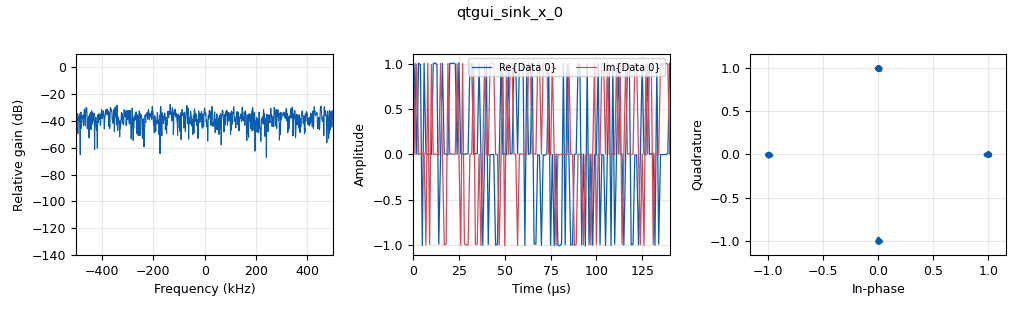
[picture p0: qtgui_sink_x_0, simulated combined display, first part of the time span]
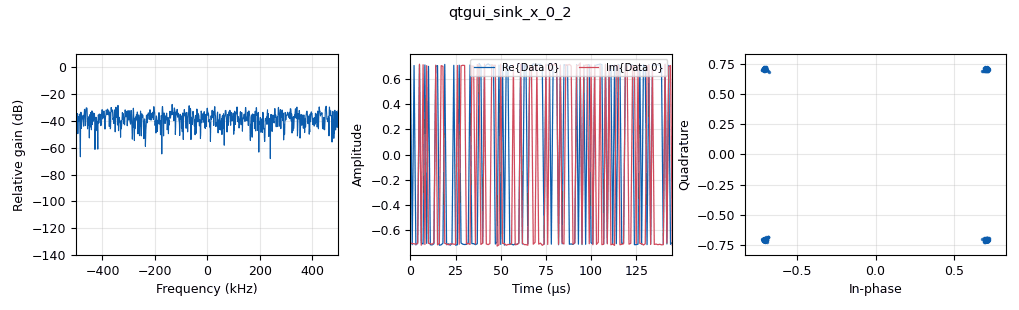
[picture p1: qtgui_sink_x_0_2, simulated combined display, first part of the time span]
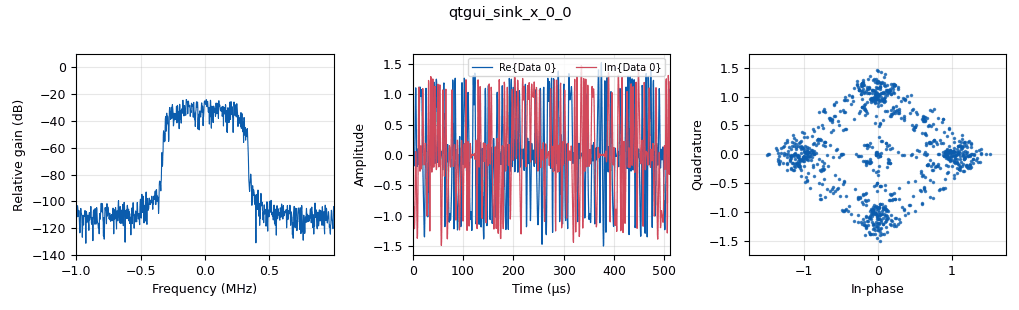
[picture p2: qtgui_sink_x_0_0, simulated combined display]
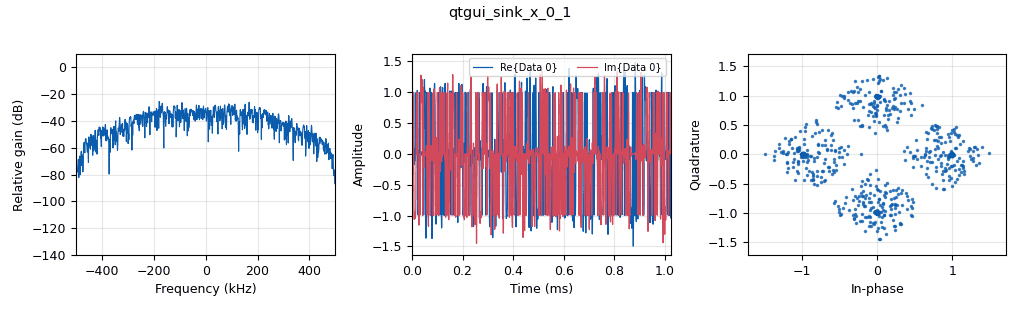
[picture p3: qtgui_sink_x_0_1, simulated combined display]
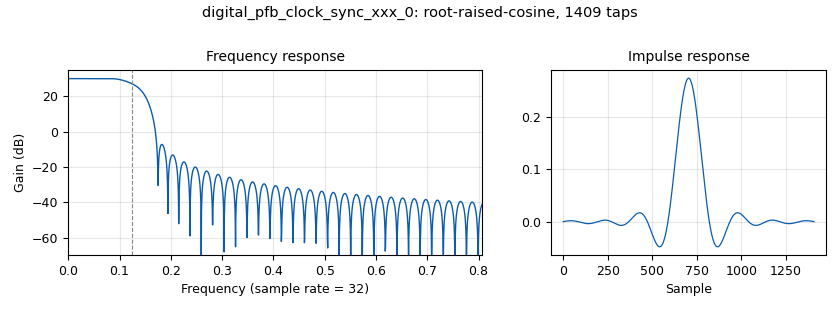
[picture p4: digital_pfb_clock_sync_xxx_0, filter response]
<?xml version='1.0' encoding='utf-8'?>
<?grc format='1' created='3.7.6'?>
<flow_graph>
<block>
<key>options</key>
<param><key>id</key><value>QPSK_Test</value></param>
<param><key>title</key><value>QPSK Test</value></param>
<param><key>author</key><value>MR (Edited from GNU Radio Tutorial 7)</value></param>
<param><key>description</key><value>QPSK Modulator / Receiver with simulated channel</value></param>
<param><key>generate_options</key><value>qt_gui</value></param>
<param><key>category</key><value>Custom</value></param>
</block>
<block>
<key>variable</key>
<param><key>id</key><value>sps_out</value></param>
<param><key>value</key><value>2</value></param>
</block>
<block>
<key>variable</key>
<param><key>id</key><value>taps</value></param>
<param><key>value</key><value>[1.0 + 0.0j, ]</value></param>
</block>
<block>
<key>variable</key>
<param><key>id</key><value>nfilts</value></param>
<param><key>value</key><value>32</value></param>
</block>
<block>
<key>variable</key>
<param><key>id</key><value>excess_bw</value></param>
<param><key>value</key><value>0.35</value></param>
</block>
<block>
<key>variable</key>
<param><key>id</key><value>samp_rate</value></param>
<param><key>value</key><value>2000000</value></param>
</block>
<block>
<key>variable</key>
<param><key>id</key><value>sym_rate</value></param>
<param><key>value</key><value>500000</value></param>
</block>
<block>
<key>variable</key>
<param><key>id</key><value>sps</value></param>
<param><key>value</key><value>int(samp_rate/sym_rate)</value></param>
</block>
<block>
<key>variable</key>
<param><key>id</key><value>arity</value></param>
<param><key>value</key><value>4</value></param>
</block>
<block>
<key>variable</key>
<param><key>id</key><value>rrc_taps</value></param>
<param><key>value</key><value>firdes.root_raised_cosine(nfilts, nfilts, 1.0/float(sps), 0.35, 11*sps*nfilts)</value></param>
</block>
<block>
<key>variable</key>
<param><key>id</key><value>taps</value></param>
<param><key>_enabled</key><value>False</value></param>
<param><key>value</key><value>[1.0, 0.25-0.25j, 0.50 + 0.10j, -0.3 + 0.2j]</value></param>
</block>
<block>
<key>digital_constellation_modulator</key>
<param><key>id</key><value>digital_constellation_modulator_0</value></param>
<param><key>_enabled</key><value>False</value></param>
<param><key>constellation</key><value>qpsk</value></param>
<param><key>differential</key><value>True</value></param>
<param><key>samples_per_symbol</key><value>sps</value></param>
<param><key>excess_bw</key><value>excess_bw</value></param>
</block>
<block>
<key>blocks_throttle</key>
<param><key>id</key><value>blocks_throttle_0</value></param>
<param><key>type</key><value>complex</value></param>
<param><key>samples_per_second</key><value>samp_rate</value></param>
</block>
<block>
<key>qtgui_sink_x</key>
<param><key>id</key><value>qtgui_sink_x_0</value></param>
<param><key>type</key><value>complex</value></param>
<param><key>fftsize</key><value>1024</value></param>
<param><key>wintype</key><value>firdes.WIN_BLACKMAN_hARRIS</value></param>
<param><key>fc</key><value>0</value></param>
<param><key>bw</key><value>samp_rate*sps_out/sps</value></param>
<param><key>gui_hint</key><value>fig_tabs@2</value></param>
<param><key>freqchangevar</key><value>None</value></param>
<param><key>showports</key><value>True</value></param>
</block>
<block>
<key>qtgui_sink_x</key>
<param><key>id</key><value>qtgui_sink_x_0_2</value></param>
<param><key>type</key><value>complex</value></param>
<param><key>fftsize</key><value>1024</value></param>
<param><key>wintype</key><value>firdes.WIN_BLACKMAN_hARRIS</value></param>
<param><key>fc</key><value>0</value></param>
<param><key>bw</key><value>samp_rate*sps_out/sps</value></param>
<param><key>gui_hint</key><value>fig_tabs@3</value></param>
<param><key>freqchangevar</key><value>None</value></param>
<param><key>showports</key><value>True</value></param>
</block>
<block>
<key>digital_costas_loop_cc</key>
<param><key>id</key><value>digital_costas_loop_cc_0</value></param>
<param><key>w</key><value>phase_bw</value></param>
<param><key>order</key><value>arity</value></param>
</block>
<block>
<key>variable_constellation_rect</key>
<param><key>id</key><value>qpsk</value></param>
<param><key>sym_map</key><value>[0, 1, 2, 3]</value></param>
<param><key>const_points</key><value>[0.707+0.707j, -0.707+0.707j, -0.707-0.707j, 0.707-0.707j]</value></param>
<param><key>rot_sym</key><value>4</value></param>
<param><key>real_sect</key><value>2</value></param>
<param><key>imag_sect</key><value>2</value></param>
<param><key>w_real_sect</key><value>1</value></param>
<param><key>w_imag_sect</key><value>1</value></param>
<param><key>softbits_lut</key><value>None</value></param>
</block>
<block>
<key>digital_psk_mod</key>
<param><key>id</key><value>digital_psk_mod_0</value></param>
<param><key>constellation_points</key><value>arity</value></param>
<param><key>mod_code</key><value>"gray"</value></param>
<param><key>differential</key><value>True</value></param>
<param><key>samples_per_symbol</key><value>sps</value></param>
<param><key>excess_bw</key><value>0.35</value></param>
</block>
<block>
<key>analog_random_source_x</key>
<param><key>id</key><value>analog_random_source_x_0</value></param>
<param><key>type</key><value>byte</value></param>
<param><key>min</key><value>0</value></param>
<param><key>max</key><value>256</value></param>
<param><key>num_samps</key><value>10000</value></param>
<param><key>repeat</key><value>True</value></param>
</block>
<block>
<key>variable_qtgui_range</key>
<param><key>id</key><value>noise_volt</value></param>
<param><key>label</key><value>Noise Voltage</value></param>
<param><key>value</key><value>0.0001</value></param>
<param><key>start</key><value>0</value></param>
<param><key>stop</key><value>1</value></param>
<param><key>step</key><value>0.01</value></param>
<param><key>widget</key><value>counter</value></param>
<param><key>orient</key><value>Qt.Vertical</value></param>
<param><key>gui_hint</key><value>controls@0: 0,0,1,1</value></param>
</block>
<block>
<key>variable_qtgui_range</key>
<param><key>id</key><value>freq_offset</value></param>
<param><key>label</key><value>Frequency Offset</value></param>
<param><key>value</key><value>0</value></param>
<param><key>start</key><value>-0.1</value></param>
<param><key>stop</key><value>0.1</value></param>
<param><key>step</key><value>0.001</value></param>
<param><key>widget</key><value>counter</value></param>
<param><key>orient</key><value>Qt.Horizontal</value></param>
<param><key>gui_hint</key><value>controls@0: 2,0,1,1</value></param>
</block>
<block>
<key>variable_qtgui_range</key>
<param><key>id</key><value>co_freq</value></param>
<param><key>label</key><value>Cutoff Frequency</value></param>
<param><key>value</key><value>samp_rate/2</value></param>
<param><key>start</key><value>0</value></param>
<param><key>stop</key><value>samp_rate/2</value></param>
<param><key>step</key><value>100000</value></param>
<param><key>widget</key><value>counter</value></param>
<param><key>orient</key><value>Qt.Horizontal</value></param>
<param><key>gui_hint</key><value>controls@1:0,0,1,1</value></param>
</block>
<block>
<key>variable_qtgui_range</key>
<param><key>id</key><value>trans_width</value></param>
<param><key>label</key><value>Transition Width</value></param>
<param><key>value</key><value>10000</value></param>
<param><key>start</key><value>1000</value></param>
<param><key>stop</key><value>100000</value></param>
<param><key>step</key><value>1000</value></param>
<param><key>widget</key><value>counter</value></param>
<param><key>orient</key><value>Qt.Horizontal</value></param>
<param><key>gui_hint</key><value>controls@1:1,0,1,1</value></param>
</block>
<block>
<key>variable_qtgui_range</key>
<param><key>id</key><value>filter_gain</value></param>
<param><key>label</key><value>Filter Gain</value></param>
<param><key>value</key><value>1</value></param>
<param><key>start</key><value>1</value></param>
<param><key>stop</key><value>10</value></param>
<param><key>step</key><value>1</value></param>
<param><key>widget</key><value>counter</value></param>
<param><key>orient</key><value>Qt.Horizontal</value></param>
<param><key>gui_hint</key><value>controls@1:2,0,1,1</value></param>
</block>
<block>
<key>variable_qtgui_range</key>
<param><key>id</key><value>timing_loop_bw</value></param>
<param><key>label</key><value>Timing Loop BW </value></param>
<param><key>value</key><value>6.28/100.0</value></param>
<param><key>start</key><value>0.0</value></param>
<param><key>stop</key><value>0.2</value></param>
<param><key>step</key><value>0.01</value></param>
<param><key>widget</key><value>counter</value></param>
<param><key>orient</key><value>Qt.Horizontal</value></param>
<param><key>gui_hint</key><value>controls@2: 0,0,1,1</value></param>
</block>
<block>
<key>variable_qtgui_range</key>
<param><key>id</key><value>phase_bw</value></param>
<param><key>label</key><value>Phase Loop BW   </value></param>
<param><key>value</key><value>6.28/100.0</value></param>
<param><key>start</key><value>0.0</value></param>
<param><key>stop</key><value>1.0</value></param>
<param><key>step</key><value>0.01</value></param>
<param><key>widget</key><value>counter</value></param>
<param><key>orient</key><value>Qt.Horizontal</value></param>
<param><key>gui_hint</key><value>controls@2: 2,0,1,1</value></param>
</block>
<block>
<key>variable_qtgui_range</key>
<param><key>id</key><value>eq_gain</value></param>
<param><key>label</key><value>Equalizer Gain     </value></param>
<param><key>value</key><value>0.01</value></param>
<param><key>start</key><value>0.0</value></param>
<param><key>stop</key><value>0.1</value></param>
<param><key>step</key><value>0.001</value></param>
<param><key>widget</key><value>counter</value></param>
<param><key>orient</key><value>Qt.Horizontal</value></param>
<param><key>gui_hint</key><value>controls@2: 1,0,1,1</value></param>
</block>
<block>
<key>qtgui_tab_widget</key>
<param><key>id</key><value>controls</value></param>
<param><key>num_tabs</key><value>3</value></param>
<param><key>label0</key><value>Channel</value></param>
<param><key>label1</key><value>LPF</value></param>
<param><key>label2</key><value>Receiver</value></param>
<param><key>gui_hint</key><value>0,0,1,1</value></param>
</block>
<block>
<key>qtgui_tab_widget</key>
<param><key>id</key><value>fig_tabs</value></param>
<param><key>num_tabs</key><value>4</value></param>
<param><key>label0</key><value>LPF output</value></param>
<param><key>label1</key><value>PFB output</value></param>
<param><key>label2</key><value>CMA output</value></param>
<param><key>label3</key><value>Costas output</value></param>
<param><key>gui_hint</key><value>1,0,1,2</value></param>
</block>
<block>
<key>qtgui_sink_x</key>
<param><key>id</key><value>qtgui_sink_x_0_0</value></param>
<param><key>type</key><value>complex</value></param>
<param><key>fftsize</key><value>1024</value></param>
<param><key>wintype</key><value>firdes.WIN_BLACKMAN_hARRIS</value></param>
<param><key>fc</key><value>0</value></param>
<param><key>bw</key><value>samp_rate</value></param>
<param><key>gui_hint</key><value>fig_tabs@0</value></param>
<param><key>freqchangevar</key><value>None</value></param>
<param><key>showports</key><value>True</value></param>
</block>
<block>
<key>channels_channel_model</key>
<param><key>id</key><value>channels_channel_model_0</value></param>
<param><key>noise_voltage</key><value>noise_volt</value></param>
<param><key>freq_offset</key><value>freq_offset</value></param>
<param><key>epsilon</key><value>time_offset</value></param>
<param><key>taps</key><value>taps</value></param>
<param><key>seed</key><value>0</value></param>
</block>
<block>
<key>variable_qtgui_range</key>
<param><key>id</key><value>time_offset</value></param>
<param><key>label</key><value>Timing Offset</value></param>
<param><key>value</key><value>1.00</value></param>
<param><key>start</key><value>0.995</value></param>
<param><key>stop</key><value>1.005</value></param>
<param><key>step</key><value>0.0001</value></param>
<param><key>widget</key><value>counter</value></param>
<param><key>orient</key><value>Qt.Horizontal</value></param>
<param><key>gui_hint</key><value>controls@0: 1,0,1,1</value></param>
</block>
<block>
<key>low_pass_filter</key>
<param><key>id</key><value>low_pass_filter_0</value></param>
<param><key>type</key><value>fir_filter_ccf</value></param>
<param><key>decim</key><value>1</value></param>
<param><key>gain</key><value>filter_gain</value></param>
<param><key>samp_rate</key><value>samp_rate</value></param>
<param><key>cutoff_freq</key><value>co_freq</value></param>
<param><key>width</key><value>trans_width</value></param>
<param><key>win</key><value>firdes.WIN_RECTANGULAR</value></param>
</block>
<block>
<key>digital_cma_equalizer_cc</key>
<param><key>id</key><value>digital_cma_equalizer_cc_0</value></param>
<param><key>num_taps</key><value>11</value></param>
<param><key>modulus</key><value>1</value></param>
<param><key>mu</key><value>eq_gain</value></param>
<param><key>sps</key><value>sps_out</value></param>
</block>
<block>
<key>digital_pfb_clock_sync_xxx</key>
<param><key>id</key><value>digital_pfb_clock_sync_xxx_0</value></param>
<param><key>type</key><value>ccf</value></param>
<param><key>sps</key><value>sps</value></param>
<param><key>loop_bw</key><value>timing_loop_bw</value></param>
<param><key>taps</key><value>rrc_taps</value></param>
<param><key>filter_size</key><value>nfilts</value></param>
<param><key>init_phase</key><value>nfilts/2</value></param>
<param><key>max_dev</key><value>1.5</value></param>
<param><key>osps</key><value>sps_out</value></param>
</block>
<block>
<key>qtgui_sink_x</key>
<param><key>id</key><value>qtgui_sink_x_0_1</value></param>
<param><key>type</key><value>complex</value></param>
<param><key>fftsize</key><value>1024</value></param>
<param><key>wintype</key><value>firdes.WIN_BLACKMAN_hARRIS</value></param>
<param><key>fc</key><value>0</value></param>
<param><key>bw</key><value>samp_rate*sps_out/sps</value></param>
<param><key>gui_hint</key><value>fig_tabs@1</value></param>
<param><key>freqchangevar</key><value>None</value></param>
<param><key>showports</key><value>True</value></param>
</block>
<connection><source_block_id>digital_constellation_modulator_0</source_block_id><sink_block_id>blocks_throttle_0</sink_block_id><source_key>0</source_key><sink_key>0</sink_key></connection>
<connection><source_block_id>analog_random_source_x_0</source_block_id><sink_block_id>digital_constellation_modulator_0</sink_block_id><source_key>0</source_key><sink_key>0</sink_key></connection>
<connection><source_block_id>blocks_throttle_0</source_block_id><sink_block_id>channels_channel_model_0</sink_block_id><source_key>0</source_key><sink_key>0</sink_key></connection>
<connection><source_block_id>analog_random_source_x_0</source_block_id><sink_block_id>digital_psk_mod_0</sink_block_id><source_key>0</source_key><sink_key>0</sink_key></connection>
<connection><source_block_id>digital_psk_mod_0</source_block_id><sink_block_id>blocks_throttle_0</sink_block_id><source_key>0</source_key><sink_key>0</sink_key></connection>
<connection><source_block_id>channels_channel_model_0</source_block_id><sink_block_id>low_pass_filter_0</sink_block_id><source_key>0</source_key><sink_key>0</sink_key></connection>
<connection><source_block_id>digital_pfb_clock_sync_xxx_0</source_block_id><sink_block_id>digital_cma_equalizer_cc_0</sink_block_id><source_key>0</source_key><sink_key>0</sink_key></connection>
<connection><source_block_id>digital_pfb_clock_sync_xxx_0</source_block_id><sink_block_id>qtgui_sink_x_0_1</sink_block_id><source_key>0</source_key><sink_key>0</sink_key></connection>
<connection><source_block_id>digital_costas_loop_cc_0</source_block_id><sink_block_id>qtgui_sink_x_0_2</sink_block_id><source_key>0</source_key><sink_key>0</sink_key></connection>
<connection><source_block_id>low_pass_filter_0</source_block_id><sink_block_id>digital_pfb_clock_sync_xxx_0</sink_block_id><source_key>0</source_key><sink_key>0</sink_key></connection>
<connection><source_block_id>digital_cma_equalizer_cc_0</source_block_id><sink_block_id>digital_costas_loop_cc_0</sink_block_id><source_key>0</source_key><sink_key>0</sink_key></connection>
<connection><source_block_id>digital_cma_equalizer_cc_0</source_block_id><sink_block_id>qtgui_sink_x_0</sink_block_id><source_key>0</source_key><sink_key>0</sink_key></connection>
<connection><source_block_id>low_pass_filter_0</source_block_id><sink_block_id>qtgui_sink_x_0_0</sink_block_id><source_key>0</source_key><sink_key>0</sink_key></connection>
</flow_graph>
